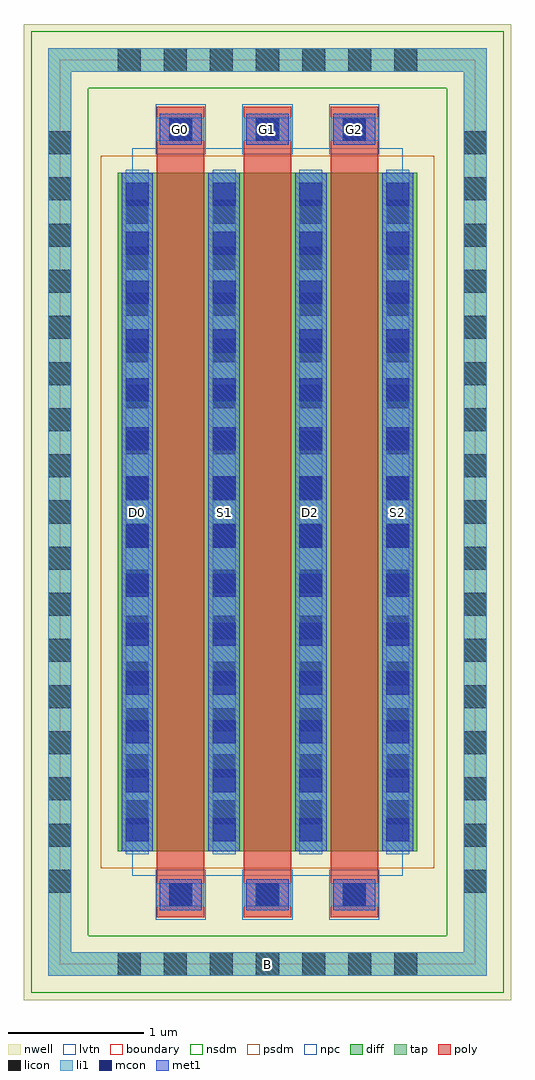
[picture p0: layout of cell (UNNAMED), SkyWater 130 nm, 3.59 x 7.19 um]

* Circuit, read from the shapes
.subckt (UNNAMED) B D0 D2 G0 G1 G2 S1 S2
XM1 S1 G0 D0 B sky130_fd_pr__pfet_01v8_lvt w=5 l=0.35
XM2 D2 G1 S1 B sky130_fd_pr__pfet_01v8_lvt w=5 l=0.35
XM3 S2 G2 D2 B sky130_fd_pr__pfet_01v8_lvt w=5 l=0.35
.ends

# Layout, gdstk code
import gdstk
lib = gdstk.Library(unit=1e-6, precision=1e-09)
def R(c, l, rs):  # rectangles x0, y0, x1, y1
    for r in rs: c.add(gdstk.rectangle(r[:2], r[2:], *l))
def A(c, l, x, y, w, h, nx, ny, dx, dy):  # array of equal rectangles
    R(c, l, [(x+i*dx, y+j*dy, x+i*dx+w, y+j*dy+h) for i in range(nx) for j in range(ny)])
nwell = (64, 20)
diff = (65, 20)
tap = (65, 44)
poly = (66, 20)
licon = (66, 44)
li1 = (67, 20)
mcon = (67, 44)
met1 = (68, 20)
nsdm = (93, 44)
psdm = (94, 20)
npc = (95, 20)
lvtn = (125, 44)
boundary = (235, 4)

c__unnamed_ = lib.new_cell('(UNNAMED)')
R(c__unnamed_, nwell, [(-1.795,-3.595,1.795,3.595)])
R(c__unnamed_, diff, [(-1.105,-2.5,1.105,2.5)])
R(c__unnamed_, tap, [(-1.615,-3.415,1.615,-3.245), (-1.615,-3.245,-1.445,3.245), (1.445,-3.245,1.615,3.245), (-1.615,3.245,1.615,3.415)])
A(c__unnamed_, poly, -0.815, -2.985, 0.35, 5.97, 3, 1, 0.64, 0)
A(c__unnamed_, licon, -1.105, -3.415, 0.17, 0.17, 7, 2, 0.34, 6.66)
A(c__unnamed_, licon, -0.725, -2.905, 0.17, 0.17, 3, 2, 0.64, 5.64)
A(c__unnamed_, licon, -1.615, -2.805, 0.17, 0.17, 1, 17, 0, 0.34)
A(c__unnamed_, licon, 1.445, -2.805, 0.17, 0.17, 1, 17, 0, 0.34)
A(c__unnamed_, licon, -1.045, -2.295, 0.17, 0.17, 4, 14, 0.64, 0.34)
A(c__unnamed_, li1, -0.815, -2.905, 0.35, 0.17, 3, 2, 0.64, 5.64)
A(c__unnamed_, li1, -1.045, -2.52, 0.17, 5.04, 4, 1, 0.64, 0)
R(c__unnamed_, li1, [(-1.615,-3.415,1.615,-3.245), (-1.615,-3.245,-1.445,3.245), (1.445,-3.245,1.615,3.245), (-1.615,3.245,1.615,3.415)])
A(c__unnamed_, mcon, -0.725, -2.905, 0.17, 0.17, 3, 2, 0.64, 5.64)
A(c__unnamed_, mcon, -1.045, -2.425, 0.17, 0.17, 4, 14, 0.64, 0.36)
A(c__unnamed_, met1, -0.795, -2.935, 0.31, 0.23, 3, 2, 0.64, 5.64)
A(c__unnamed_, met1, -1.075, -2.5, 0.23, 5, 4, 1, 0.64, 0)
R(c__unnamed_, nsdm, [(-1.74,-3.54,1.74,-3.12), (-1.74,-3.12,-1.32,3.12), (1.32,-3.12,1.74,3.12), (-1.74,3.12,1.74,3.54)])
R(c__unnamed_, psdm, [(-1.23,-2.625,1.23,2.625)])
A(c__unnamed_, npc, -0.825, -3.005, 0.37, 0.37, 3, 2, 0.64, 5.64)
R(c__unnamed_, lvtn, [(-0.995,-2.68,0.995,2.68)])
R(c__unnamed_, boundary, [(-1.53,-3.33,1.53,3.33)])
c__unnamed_.add(gdstk.Label('B', (0,-3.33), layer=67, texttype=5))
c__unnamed_.add(gdstk.Label('D0', (-0.96,0), layer=67, texttype=5))
c__unnamed_.add(gdstk.Label('G0', (-0.64,2.82), layer=67, texttype=5))
c__unnamed_.add(gdstk.Label('S1', (-0.32,0), layer=67, texttype=5))
c__unnamed_.add(gdstk.Label('G1', (0,2.82), layer=67, texttype=5))
c__unnamed_.add(gdstk.Label('D2', (0.32,0), layer=67, texttype=5))
c__unnamed_.add(gdstk.Label('S2', (0.96,0), layer=67, texttype=5))
c__unnamed_.add(gdstk.Label('G2', (0.64,2.82), layer=67, texttype=5))

lib.write_gds('_UNNAMED_.gds')
